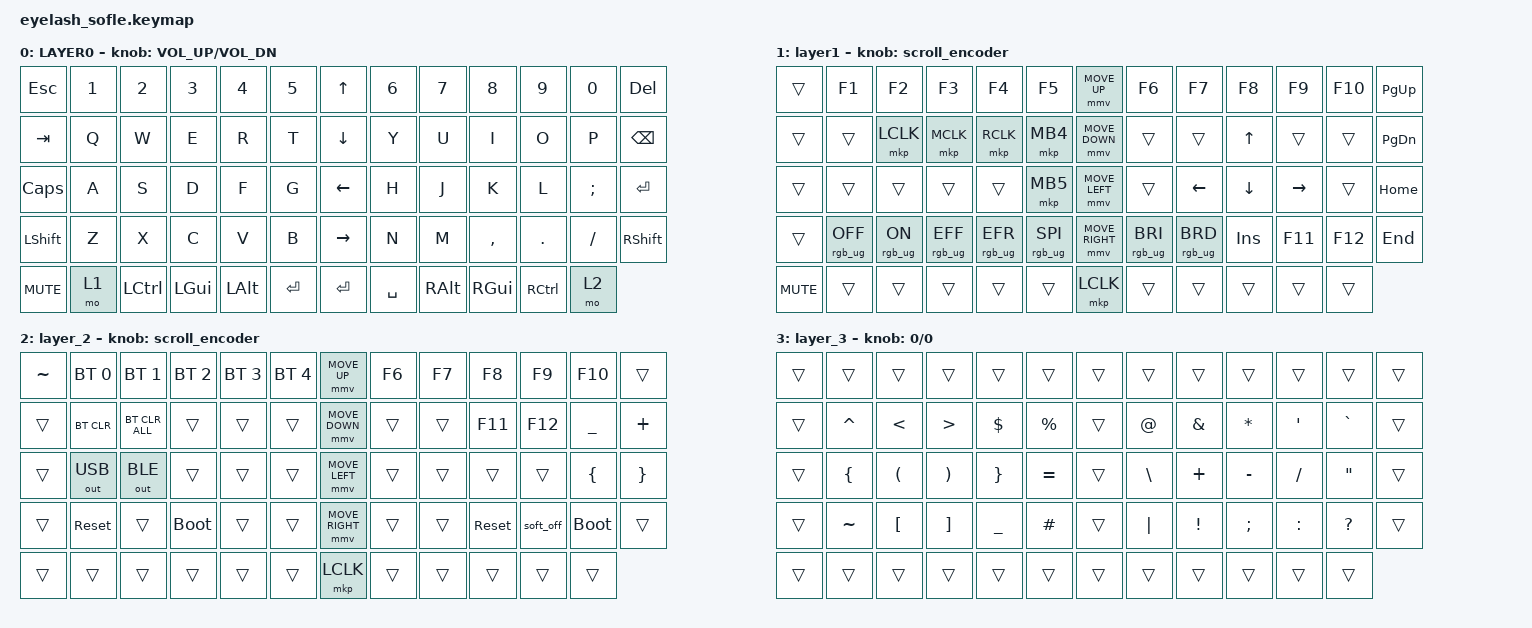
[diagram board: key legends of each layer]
#define ZMK_POINTING_DEFAULT_MOVE_VAL 1200  // 600
#define ZMK_POINTING_DEFAULT_SCRL_VAL 25   // 10

#include <input/processors.dtsi>
#include <zephyr/dt-bindings/input/input-event-codes.h>
#include <behaviors.dtsi>
#include <dt-bindings/zmk/bt.h>
#include <dt-bindings/zmk/keys.h>
#include <dt-bindings/zmk/outputs.h>
#include <dt-bindings/zmk/pointing.h>
#include <dt-bindings/zmk/rgb.h>

&mmv_input_listener { input-processors = <&zip_xy_scaler 2 1>; };

&msc_input_listener { input-processors = <&zip_scroll_scaler 2 1>; };

&msc {
    acceleration-exponent = <1>;      // 0
    time-to-max-speed-ms = <100>;       // 300
    delay-ms = <0>;                   // 0
};

&mmv {
    time-to-max-speed-ms = <500>;
    acceleration-exponent = <1>;
    trigger-period-ms = <16>;
};

/ {
    scroll_encoder: scroll_encoder {
        compatible = "zmk,behavior-sensor-rotate";
        #sensor-binding-cells = <0>;
        bindings = <&msc SCRL_DOWN>, <&msc SCRL_UP>;

        tap-ms = <100>;
    };

    behaviors {
    };

    keymap {
        compatible = "zmk,keymap";

        layer0 {
            bindings = <
&kp ESC     &kp N1  &kp N2     &kp N3        &kp N4        &kp N5       &kp UP_ARROW     &kp N6     &kp N7         &kp N8         &kp N9     &kp N0    &kp DELETE
&kp TAB     &kp Q   &kp W      &kp E         &kp R         &kp T        &kp DOWN_ARROW   &kp Y      &kp U          &kp I          &kp O      &kp P     &kp BACKSPACE
&kp CAPS    &kp A   &kp S      &kp D         &kp F         &kp G        &kp LEFT_ARROW   &kp H      &kp J          &kp K          &kp L      &kp SEMI  &kp ENTER
&kp LSHFT   &kp Z   &kp X      &kp C         &kp V         &kp B        &kp RIGHT_ARROW  &kp N      &kp M          &kp COMMA      &kp DOT    &kp FSLH  &kp RIGHT_SHIFT
&kp C_MUTE  &mo 1   &kp LCTRL  &kp LEFT_GUI  &kp LEFT_ALT  &kp ENTER    &kp ENTER        &kp SPACE  &kp RIGHT_ALT  &kp RIGHT_GUI  &kp RCTRL  &mo 2
            >;

            sensor-bindings = <&inc_dec_kp C_VOLUME_UP C_VOL_DN>;
            display-name = "LAYER0";
        };

        layer_1 {
            bindings = <
&trans      &kp F1           &kp F2          &kp F3           &kp F4           &kp F5             &mmv MOVE_UP     &kp F6           &kp F7           &kp F8      &kp F9     &kp F10  &kp PG_UP
&trans      &trans           &mkp LCLK       &mkp MCLK        &mkp RCLK        &mkp MB4           &mmv MOVE_DOWN   &trans           &trans           &kp UP      &trans     &trans   &kp PAGE_DOWN
&trans      &trans           &trans          &trans           &trans           &mkp MB5           &mmv MOVE_LEFT   &trans           &kp LEFT         &kp DOWN    &kp RIGHT  &trans   &kp HOME
&trans      &rgb_ug RGB_OFF  &rgb_ug RGB_ON  &rgb_ug RGB_EFF  &rgb_ug RGB_EFR  &rgb_ug RGB_SPI    &mmv MOVE_RIGHT  &rgb_ug RGB_BRI  &rgb_ug RGB_BRD  &kp INSERT  &kp F11    &kp F12  &kp END
&kp C_MUTE  &trans           &trans          &trans           &trans           &trans             &mkp LCLK        &trans           &trans           &trans      &trans     &trans
            >;

            display-name = "layer1";
            sensor-bindings = <&scroll_encoder>;
        };

        layer_2 {
            bindings = <
&kp TILDE  &bt BT_SEL 0  &bt BT_SEL 1    &bt BT_SEL 2  &bt BT_SEL 3  &bt BT_SEL 4    &mmv MOVE_UP     &kp F6  &kp F7  &kp F8      &kp F9     &kp F10      &trans
&trans     &bt BT_CLR    &bt BT_CLR_ALL  &trans        &trans        &trans          &mmv MOVE_DOWN   &trans  &trans  &kp F11     &kp F12    &kp UNDER    &kp PLUS
&trans     &out OUT_USB  &out OUT_BLE    &trans        &trans        &trans          &mmv MOVE_LEFT   &trans  &trans  &trans      &trans     &kp LBRC     &kp RBRC
&trans     &sys_reset    &trans          &bootloader   &trans        &trans          &mmv MOVE_RIGHT  &trans  &trans  &sys_reset  &soft_off  &bootloader  &trans
&trans     &trans        &trans          &trans        &trans        &trans          &mkp LCLK        &trans  &trans  &trans      &trans     &trans
            >;

            sensor-bindings = <&scroll_encoder>;
        };

        layer_3 {
            bindings = <
&trans  &trans          &trans                &trans                 &trans           &trans         &trans  &trans         &trans         &trans         &trans     &trans             &trans
&trans  &kp CARET       &kp LESS_THAN         &kp GREATER_THAN       &kp DOLLAR       &kp PERCENT    &trans  &kp AT         &kp AMPERSAND  &kp STAR       &kp APOS   &kp GRAVE          &trans
&trans  &kp LEFT_BRACE  &kp LEFT_PARENTHESIS  &kp RIGHT_PARENTHESIS  &kp RIGHT_BRACE  &kp EQUAL      &trans  &kp BACKSLASH  &kp PLUS       &kp MINUS      &kp SLASH  &kp DOUBLE_QUOTES  &trans
&trans  &kp TILDE       &kp LBKT              &kp RBKT               &kp UNDER        &kp HASH       &trans  &kp PIPE       &kp EXCL       &kp SEMICOLON  &kp COLON  &kp QUESTION       &trans
&trans  &trans          &trans                &trans                 &trans           &trans         &trans  &trans         &trans         &trans         &trans     &trans
            >;

            sensor-bindings = <&inc_dec_kp 0 0>;
        };
    };
};
